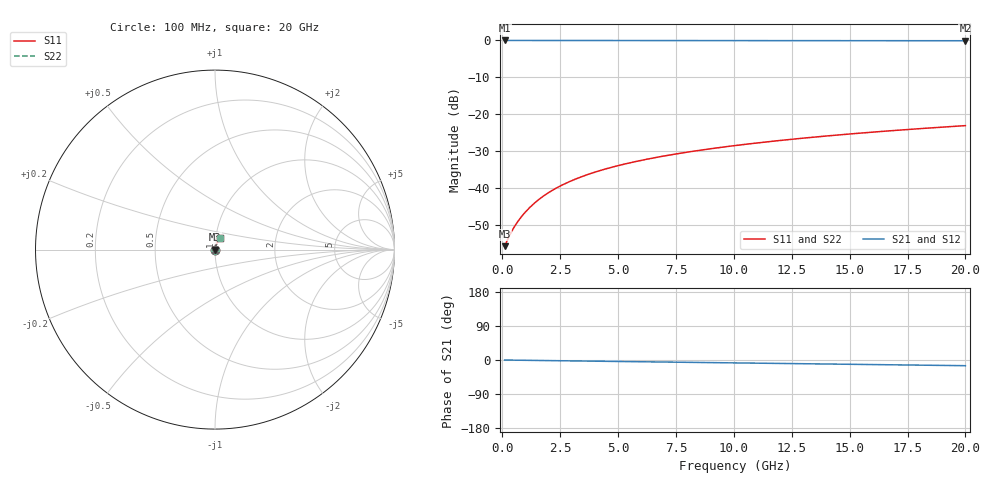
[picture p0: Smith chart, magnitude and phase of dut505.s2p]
! Touchstone file exported from HFSS 2026.1.0
!  File:  C:/ffzhzh/LocalFiles/Ansys_Project_Files/temp_train_BSMRDL_505_1783014260_55676.aedt
!  Generated:  01:45:37 AM Jul  3, 2026
!  Design:  BSMRDL
!  Project:  temp_train_BSMRDL_505_1783014260_55676
! Variables:
!  h_bsmrdl = 5.81um
!  h_ox = 20um
!  h_rdl = 5um
!  h_sub = 80um
!  h_tmrdl = 5um
!  h_tsv = 80um
!  h_via = 3um
!  l_bsmrdl = 259.05um
!  l_sub = 659.05um
!  l_tmrdl = 200um
!  m_sub = 200um
!  pitch = 18.43um
!  r_tsv = 6um
!  s_tmrdl = 10um
!  w_bsmrdl = 10.82um
!  w_sub = 500um
!  w_tmrdl = 12um
!  x_tsv_center1 = 206um
!  x_tsv_center2 = 475.87um
!  x_tsv_center3 = 687.87um
!  x_tsv_center4 = 957.74um
!  x_tsv_center5 = 1169.74um
!  x_tsv_center6 = 1439.61um
# GHz S MA R 50.000000
! Terminal data exported
! Port[1] = BSM_RDL1_1_T1
! Port[2] = BSM_RDL1_1_T2
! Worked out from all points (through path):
!   200 points, 100 MHz to 20 GHz, reference 50 ohm
!   highest |S21| = -0.01 dB at 100 MHz (marker M1); lowest = -0.1 dB at 20 GHz (marker M2)
!   group delay of S21, straight-line fit = 2.08 ps
!   lowest |S11| = -55.6 dB at 100 MHz (marker M3), VSWR 1.00, Z = 50.2 + j0.0539 ohm
!   |S11| at or under -10 dB: start of sweep to end of sweep
!   |S22| runs from -55.6 to -23.1 dB; largest |S21 - S12| = 6.1e-15
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0.1  0.00165 19.0  0.9984 -0.1  0.9984 -0.1  0.00165 19.0
! Gamma 0 0 0 0
! Port Impedance 50 0 50 0
0.3  0.002266 40.3  0.9983 -0.2  0.9983 -0.2  0.002266 40.3
0.4  0.002602 46.3  0.9982 -0.3  0.9982 -0.3  0.002602 46.3
0.6  0.003296 54.8  0.9981 -0.5  0.9981 -0.5  0.003296 54.8
0.8  0.004024 60.5  0.998 -0.6  0.998 -0.6  0.004024 60.5
1  0.004781 64.5  0.998 -0.8  0.998 -0.8  0.004781 64.5
1.2  0.005559 67.4  0.9979 -1.0  0.9979 -1.0  0.005559 67.4
1.4  0.006348 69.4  0.9979 -1.1  0.9979 -1.1  0.006348 69.4
1.8  0.007943 72.1  0.9977 -1.4  0.9977 -1.4  0.007943 72.1
2.3  0.009939 73.9  0.9975 -1.8  0.9975 -1.8  0.009939 73.9
2.9  0.01231 75.0  0.9972 -2.3  0.9972 -2.3  0.01231 75.0
3.5  0.01464 75.4  0.9969 -2.7  0.9969 -2.7  0.01464 75.4
4.2  0.01729 75.6  0.9965 -3.3  0.9965 -3.3  0.01729 75.6
5  0.02026 75.5  0.9961 -3.9  0.9961 -3.9  0.02026 75.5
5.9  0.02351 75.2  0.9956 -4.6  0.9956 -4.6  0.02351 75.2
6.8  0.0267 74.9  0.9951 -5.2  0.9951 -5.2  0.02669 74.9
8.3  0.03189 74.3  0.9944 -6.4  0.9944 -6.4  0.03189 74.3
10.1  0.03801 73.6  0.9935 -7.7  0.9935 -7.7  0.03801 73.6
11.7  0.04338 72.8  0.9928 -8.9  0.9928 -8.9  0.04337 72.8
13.4  0.04901 72.0  0.9921 -10.2  0.9921 -10.2  0.04901 72.0
16.7  0.0598 70.2  0.9907 -12.6  0.9907 -12.6  0.05979 70.2
20  0.07038 68.3  0.9893 -15.0  0.9893 -15.0  0.07038 68.3
